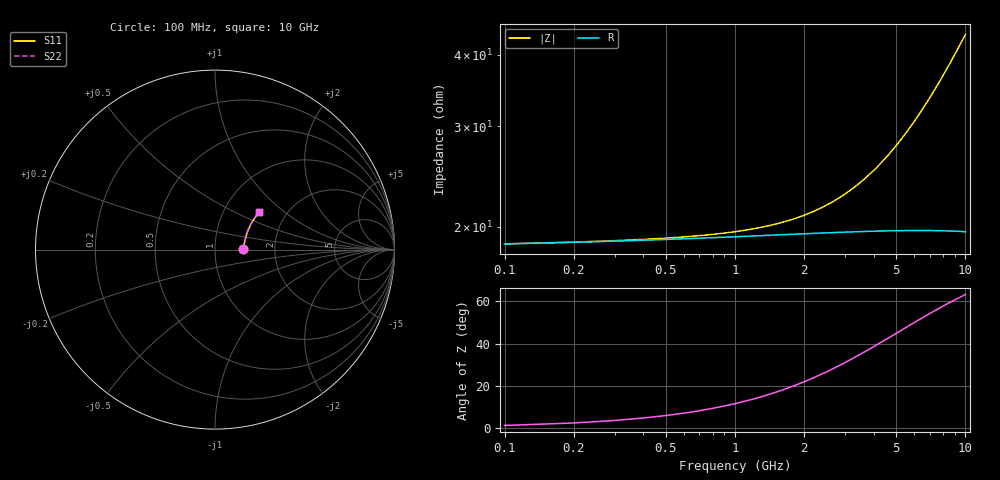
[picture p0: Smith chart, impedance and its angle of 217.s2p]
# Hz S RI R 50.00
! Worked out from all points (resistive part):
!   100 points, 100 MHz to 10 GHz, reference 50 ohm
!   read as one part in series: R = 18.6 ohm at 100 MHz
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1e8  0.1571 0.00239  0.8429 -0.00315  0.8429 -0.00315  0.1571 0.00239
2e8  0.158 0.00477  0.842 -0.00629  0.842 -0.00629  0.158 0.00477
3e8  0.1587 0.00714  0.8413 -0.00943  0.8413 -0.00943  0.1587 0.00714
9e8  0.1615 0.0213  0.8384 -0.0281  0.8384 -0.0281  0.1615 0.0213
1.2e9  0.1628 0.0283  0.8372 -0.0374  0.8372 -0.0374  0.1628 0.0283
1.5e9  0.164 0.0352  0.8359 -0.0467  0.8359 -0.0467  0.164 0.0352
1.8e9  0.1654 0.0422  0.8345 -0.056  0.8345 -0.056  0.1654 0.0422
2.1e9  0.1668 0.0491  0.8331 -0.0652  0.8331 -0.0652  0.1668 0.0491
2.5e9  0.1688 0.0582  0.831 -0.0774  0.831 -0.0774  0.1688 0.0582
2.9e9  0.1711 0.0673  0.8286 -0.0895  0.8286 -0.0895  0.1711 0.0673
3.4e9  0.1742 0.0785  0.8254 -0.1045  0.8254 -0.1045  0.1742 0.0785
3.8e9  0.177 0.0874  0.8226 -0.1165  0.8226 -0.1165  0.177 0.0874
4.2e9  0.1799 0.0962  0.8195 -0.1283  0.8195 -0.1283  0.1799 0.0962
5.1e9  0.1875 0.1155  0.8117 -0.1545  0.8117 -0.1545  0.1875 0.1155
5.9e9  0.1951 0.1321  0.8038 -0.1772  0.8038 -0.1772  0.1951 0.1321
6.7e9  0.2035 0.1481  0.795 -0.1994  0.795 -0.1994  0.2035 0.1481
7.2e9  0.2092 0.1578  0.7891 -0.2129  0.7891 -0.2129  0.2092 0.1578
7.6e9  0.214 0.1654  0.7841 -0.2236  0.7841 -0.2236  0.214 0.1654
8.4e9  0.2241 0.18  0.7736 -0.2444  0.7736 -0.2444  0.2241 0.18
9.2e9  0.2349 0.1938  0.7624 -0.2644  0.7624 -0.2644  0.2349 0.1938
9.6e9  0.2406 0.2005  0.7565 -0.2742  0.7565 -0.2742  0.2406 0.2005
1e10  0.2463 0.207  0.7504 -0.2837  0.7504 -0.2837  0.2463 0.207
